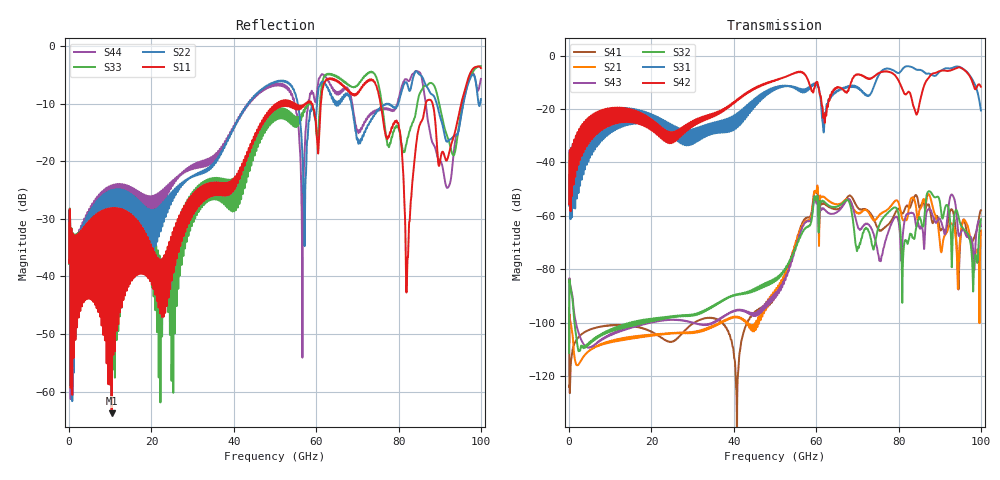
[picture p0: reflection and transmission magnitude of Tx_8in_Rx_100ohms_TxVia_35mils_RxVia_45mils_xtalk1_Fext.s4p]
! Info: Touchstone file created by Circ.  Input file=Tx_8in_Rx_100ohms_TxVia_35mils_RxVia_45mils.circ
# Hz S RI R 50
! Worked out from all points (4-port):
!   10000 points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, 10 MHz to 100 GHz, reference 50 ohm
!   strongest paths, dB at 10 MHz, 25.01 GHz, 50.01 GHz, 75.01 GHz, 100 GHz:
!     S42: -55.6, -28.7, -9.4, -6.7, -11.6
!     S31: -56.1, -26.7, -12.8, -7.8, -20.5
!     S32: -111.3, -97.8, -83.6, -65.2, -61.3
!     S43: -107.4, -99.0, -89.6, -74.2, -63.9
!     S21: -101.2, -104.1, -88.1, -60.5, -65.5
!     S41: -98.6, -107.0, -90.7, -65.0, -57.9
!   lowest |S11| = -63.8 dB at 10.33 GHz (marker M1), VSWR 1.00, Z = 50.1 + j0.0133 ohm
!   |S11| at or under -10 dB: start of sweep to 50.46 GHz; 75.62 GHz to 86.59 GHz (10.98 GHz wide, 13.5 % of centre); 88.28 GHz to 95.2 GHz (6.927 GHz wide, 7.55 % of centre) (the widest 3 of 16)
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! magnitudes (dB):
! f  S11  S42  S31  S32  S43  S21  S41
! 10 MHz  -37.6  -55.6  -56.1  -111.3  -107.4  -101.2  -98.6
! 10.33 GHz  -63.8  -24.9  -27.1  -102.7  -104.1  -106.7  -100.9
! 52.56 GHz  -9.5  -7.9  -11.3  -80.2  -84.0  -82.1  -81.9
! 59.9 GHz  -12.9  -10.1  -10.6  -53.6  -54.1  -51.2  -51.3
! 73.38 GHz  -5.8  -8.4  -14.0  -69.3  -64.7  -60.5  -59.7
! 82.13 GHz  -37.7  -14.0  -4.0  -70.4  -59.3  -60.9  -56.1
! 100 GHz  -3.8  -11.6  -20.5  -61.3  -63.9  -65.5  -57.9
